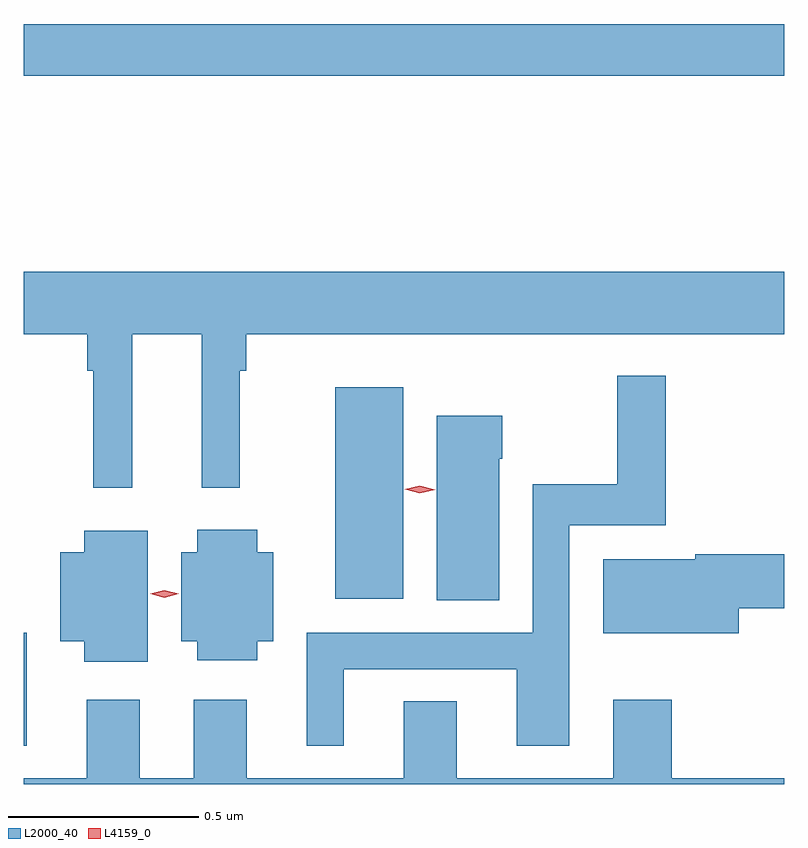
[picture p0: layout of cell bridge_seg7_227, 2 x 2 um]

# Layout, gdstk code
import gdstk
lib = gdstk.Library(unit=1e-6, precision=1e-09)
def R(c, l, rs):  # rectangles x0, y0, x1, y1
    for r in rs: c.add(gdstk.rectangle(r[:2], r[2:], *l))
def P(c, l, *ps):  # polygons
    for p in ps: c.add(gdstk.Polygon(p, *l))
L2000_40 = (2000, 40)
L4159_0 = (4159, 0)

bridge_seg7_227 = lib.new_cell('bridge_seg7_227')
R(bridge_seg7_227, L2000_40, [(275.942,1016.85,275.95,1017.147), (276.761,1017.236,276.94,1017.793), (275.942,1018.612,277.942,1018.748)])
P(bridge_seg7_227, L2000_40, [(276.227,1017.932),(276.41,1017.932),(276.41,1017.528),(276.51,1017.528),(276.51,1017.836),(276.527,1017.836),(276.527,1017.932),(277.942,1017.932),(277.942,1018.096),(275.942,1018.096),(275.942,1017.932),(276.109,1017.932),(276.109,1017.836),(276.124,1017.836),(276.124,1017.528),(276.227,1017.528)],
  [(276.784,1017.051),(277.238,1017.051),(277.238,1016.85),(277.377,1016.85),(277.377,1017.429),(277.631,1017.429),(277.631,1017.823),(277.503,1017.823),(277.503,1017.538),(277.281,1017.538),(277.281,1017.147),(276.686,1017.147),(276.686,1016.85),(276.784,1016.85)],
  [(277.192,1017.605),(277.2,1017.605),(277.2,1017.718),(277.028,1017.718),(277.028,1017.232),(277.192,1017.232)],
  [(276.556,1017.125),(276.598,1017.125),(276.598,1017.358),(276.556,1017.358),(276.556,1017.418),(276.398,1017.418),(276.398,1017.358),(276.356,1017.358),(276.356,1017.125),(276.398,1017.125),(276.398,1017.074),(276.556,1017.074)],
  [(276.268,1017.415),(276.101,1017.415),(276.101,1017.358),(276.038,1017.358),(276.038,1017.125),(276.101,1017.125),(276.101,1017.071),(276.268,1017.071)],
  [(277.822,1017.211),(277.942,1017.211),(277.942,1017.353),(277.708,1017.353),(277.708,1017.34),(277.466,1017.34),(277.466,1017.146),(277.822,1017.146)],
  [(277.942,1016.764),(277.646,1016.764),(277.646,1016.971),(277.493,1016.971),(277.493,1016.764),(277.081,1016.764),(277.081,1016.966),(276.941,1016.966),(276.941,1016.764),(276.529,1016.764),(276.529,1016.971),(276.389,1016.971),(276.389,1016.764),(276.247,1016.764),(276.247,1016.971),(276.107,1016.971),(276.107,1016.764),(275.942,1016.764),(275.942,1016.749),(277.942,1016.749)])
P(bridge_seg7_227, L4159_0, [(276.311,1017.239),(276.274,1017.249),(276.274,1017.249),(276.274,1017.249),(276.311,1017.259),(276.349,1017.249),(276.349,1017.249),(276.349,1017.249)],
  [(276.984,1017.514),(276.944,1017.524),(276.944,1017.524),(276.944,1017.524),(276.984,1017.534),(277.024,1017.523),(277.024,1017.523),(277.024,1017.523)])

lib.write_gds('bridge_seg7_227.gds')
